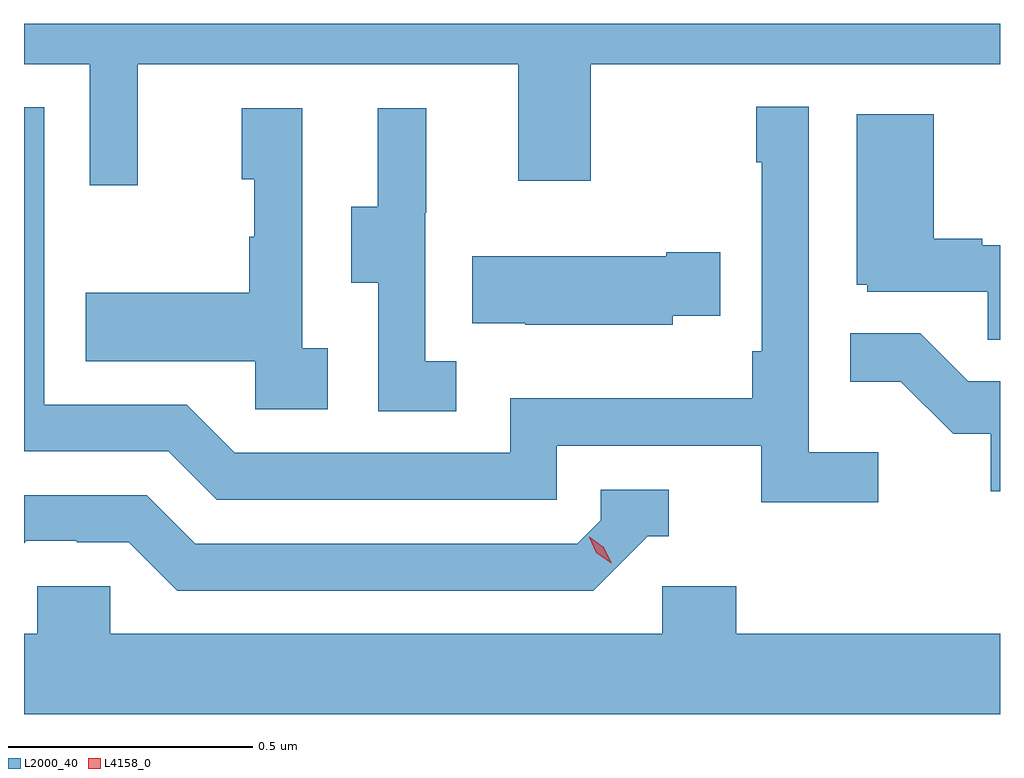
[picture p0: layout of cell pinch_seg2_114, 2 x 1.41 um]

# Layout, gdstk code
import gdstk
lib = gdstk.Library(unit=1e-6, precision=1e-09)
def P(c, l, *ps):  # polygons
    for p in ps: c.add(gdstk.Polygon(p, *l))
L2000_40 = (2000, 40)
L4158_0 = (4158, 0)

pinch_seg2_114 = lib.new_cell('pinch_seg2_114')
P(pinch_seg2_114, L2000_40, [(1018.349,638.312),(1019.129,638.312),(1019.129,638.073),(1019.277,638.073),(1019.277,638.312),(1020.116,638.312),(1020.116,638.394),(1018.116,638.394),(1018.116,638.312),(1018.251,638.312),(1018.251,638.064),(1018.349,638.064)],
  [(1019.866,637.516),(1019.724,637.516),(1019.724,638.224),(1019.616,638.224),(1019.616,638.111),(1019.628,638.111),(1019.628,637.723),(1019.608,637.723),(1019.608,637.627),(1019.112,637.627),(1019.112,637.515),(1018.548,637.515),(1018.449,637.614),(1018.158,637.614),(1018.158,638.223),(1018.116,638.223),(1018.116,637.518),(1018.412,637.518),(1018.511,637.419),(1019.208,637.419),(1019.208,637.53),(1019.627,637.53),(1019.627,637.414),(1019.866,637.414)],
  [(1019.002,637.703),(1018.938,637.703),(1018.938,638.007),(1018.94,638.007),(1018.94,638.221),(1018.841,638.221),(1018.841,638.019),(1018.787,638.019),(1018.787,637.864),(1018.842,637.864),(1018.842,637.6),(1019.002,637.6)],
  [(1018.738,637.73),(1018.686,637.73),(1018.686,638.221),(1018.562,638.221),(1018.562,638.076),(1018.588,638.076),(1018.588,637.958),(1018.578,637.958),(1018.578,637.843),(1018.243,637.843),(1018.243,637.703),(1018.59,637.703),(1018.59,637.605),(1018.738,637.605)],
  [(1020.116,637.941),(1020.08,637.941),(1020.08,637.954),(1019.98,637.954),(1019.98,638.209),(1019.822,638.209),(1019.822,637.86),(1019.844,637.86),(1019.844,637.845),(1020.091,637.845),(1020.091,637.747),(1020.116,637.747)],
  [(1019.445,637.796),(1019.543,637.796),(1019.543,637.926),(1019.432,637.926),(1019.432,637.918),(1019.035,637.918),(1019.035,637.781),(1019.143,637.781),(1019.143,637.778),(1019.445,637.778)],
  [(1020.116,637.662),(1020.051,637.662),(1019.953,637.76),(1019.809,637.76),(1019.809,637.661),(1019.913,637.661),(1020.02,637.554),(1020.097,637.554),(1020.097,637.437),(1020.116,637.437)],
  [(1019.394,637.344),(1019.437,637.344),(1019.437,637.44),(1019.298,637.44),(1019.298,637.377),(1019.25,637.329),(1018.467,637.329),(1018.368,637.428),(1018.116,637.428),(1018.116,637.33),(1018.121,637.335),(1018.224,637.335),(1018.224,637.332),(1018.331,637.332),(1018.43,637.233),(1019.283,637.233)],
  [(1020.116,637.144),(1019.576,637.144),(1019.576,637.242),(1019.424,637.242),(1019.424,637.144),(1018.293,637.144),(1018.293,637.242),(1018.143,637.242),(1018.143,637.144),(1018.116,637.144),(1018.116,636.98),(1020.116,636.98)])
P(pinch_seg2_114, L4158_0, [(1019.319,637.289),(1019.289,637.31),(1019.274,637.342),(1019.274,637.343),(1019.274,637.343),(1019.304,637.322),(1019.319,637.29),(1019.319,637.289)])

lib.write_gds('pinch_seg2_114.gds')
